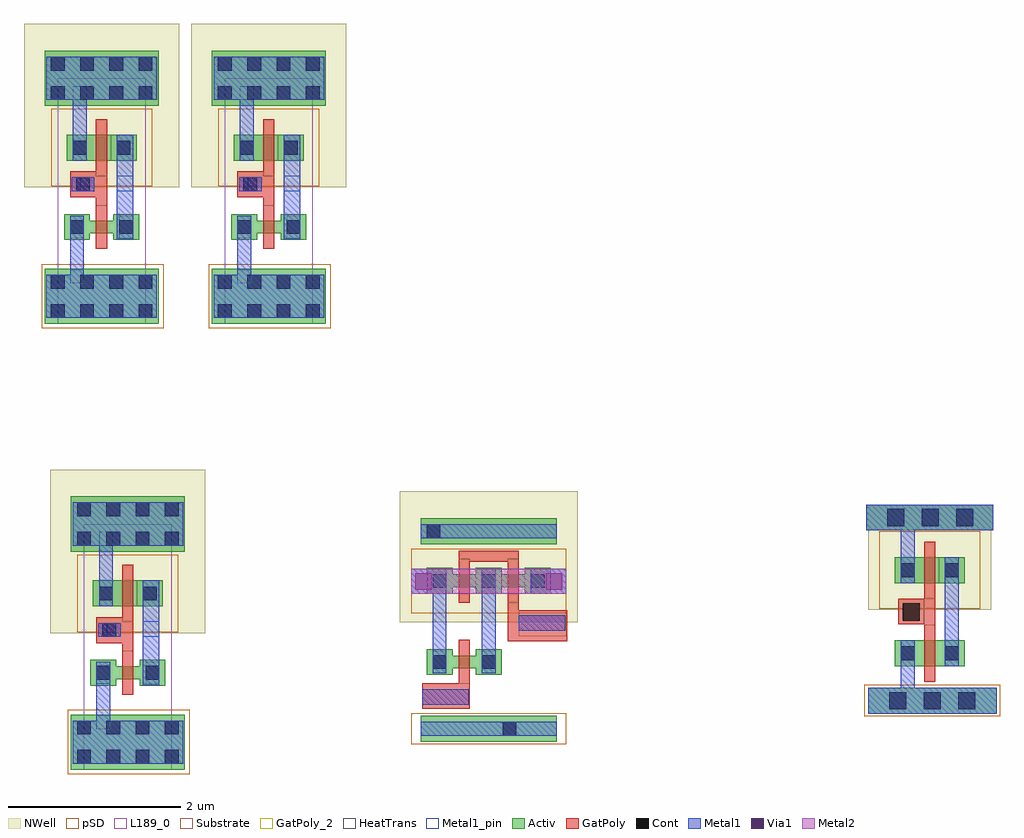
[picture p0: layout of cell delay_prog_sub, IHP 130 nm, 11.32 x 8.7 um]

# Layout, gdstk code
import gdstk
lib = gdstk.Library(unit=1e-6, precision=5e-09)
def R(c, l, rs):  # rectangles x0, y0, x1, y1
    for r in rs: c.add(gdstk.rectangle(r[:2], r[2:], *l))
def A(c, l, x, y, w, h, nx, ny, dx, dy):  # array of equal rectangles
    R(c, l, [(x+i*dx, y+j*dy, x+i*dx+w, y+j*dy+h) for i in range(nx) for j in range(ny)])
Activ = (1, 0)
GatPoly = (5, 0)
GatPoly_2 = (5, 2)
Cont = (6, 0)
Metal1 = (8, 0)
Metal1_pin = (8, 2)
Metal2 = (10, 0)
pSD = (14, 0)
Via1 = (19, 0)
NWell = (31, 0)
Substrate = (40, 0)
HeatTrans = (51, 0)
L189_0 = (189, 0)

pmos_1 = lib.new_cell('pmos$1')
R(pmos_1, Activ, [(0,0,0.3,0.3), (0,0,0.81,0.3), (0.51,0,0.81,0.3)])
R(pmos_1, GatPoly, [(0.34,-0.18,0.47,0.48), (0.34,-0.18,0.47,0.48)])
R(pmos_1, Cont, [(0.07,0.07,0.23,0.23), (0.58,0.07,0.74,0.23)])
R(pmos_1, Metal1, [(0.07,0,0.23,0.3), (0.07,0,0.23,0.3), (0.58,0,0.74,0.3), (0.58,0,0.74,0.3)])
R(pmos_1, pSD, [(-0.18,-0.3,0.99,0.6)])
R(pmos_1, NWell, [(-0.31,-0.31,1.12,0.61)])
R(pmos_1, Substrate, [(0.51,0,0.81,0.3)])
R(pmos_1, HeatTrans, [(0.34,-0.18,0.47,0.48)])
pmos_1.add(gdstk.Label('pmos', (0.405,0.15), layer=63, texttype=0))
pmos_1.add(gdstk.Label('pmos', (0.405,0.15), layer=51, texttype=0))

nmos = lib.new_cell('nmos')
R(nmos, Activ, [(0,0,0.3,0.3), (0.57,0,0.87,0.3), (0,0.075,0.87,0.225)])
R(nmos, GatPoly, [(0.37,-0.105,0.5,0.405)])
R(nmos, GatPoly_2, [(0.37,-0.105,0.5,0.405)])
R(nmos, Cont, [(0.07,0.07,0.23,0.23), (0.64,0.07,0.8,0.23)])
R(nmos, Metal1, [(0.07,0.02,0.23,0.28), (0.64,0.02,0.8,0.28)])
R(nmos, Metal1_pin, [(0.07,0.02,0.23,0.28), (0.64,0.02,0.8,0.28)])
R(nmos, HeatTrans, [(0.37,-0.105,0.5,0.405)])
nmos.add(gdstk.Label('nmos', (0.435,0.15), layer=63, texttype=0))
nmos.add(gdstk.Label('nmos', (0.435,0.15), layer=51, texttype=0))

via_stack = lib.new_cell('via_stack')
R(via_stack, Activ, [(-0.66,-0.32,0.66,0.32)])
A(via_stack, Cont, -0.59, -0.25, 0.16, 0.16, 4, 2, 0.34, 0.34)
R(via_stack, Metal1, [(-0.64,-0.25,0.64,0.25)])

via_stack_3 = lib.new_cell('via_stack$3')
R(via_stack_3, GatPoly, [(-0.15,-0.15,0.15,0.15)])
R(via_stack_3, Cont, [(-0.08,-0.08,0.08,0.08)])
R(via_stack_3, Metal1, [(-0.13,-0.08,0.13,0.08)])

inv_d1 = lib.new_cell('INV_D1')
R(inv_d1, GatPoly, [(0.65,0.88,0.78,1.32)])
R(inv_d1, Metal1, [(0.35,0.075,0.51,0.73), (0.89,0.585,1.08,1.8), (0.47,1.145,0.63,1.305), (0.38,1.8,0.54,2.365)])
R(inv_d1, Metal1_pin, [(0.35,0.075,0.51,0.235), (0.47,1.145,0.63,1.305), (0.89,1.145,1.08,1.325), (0.38,2.205,0.54,2.365)])
R(inv_d1, pSD, [(0.02,-0.445,1.435,0.3)])
R(inv_d1, NWell, [(-0.185,1.19,1.615,3.085), (0,2.11,1.43,3.085)])
R(inv_d1, Substrate, [(0.82,1.5,1.12,1.8)])
R(inv_d1, L189_0, [(0.205,-0.395,1.225,2.455)])
inv_d1.add(gdstk.Reference(pmos_1, (0.31,1.5)))
inv_d1.add(gdstk.Reference(nmos, (0.28,0.58)))
inv_d1.add(gdstk.Reference(via_stack, (0.715,2.455)))
inv_d1.add(gdstk.Reference(via_stack, (0.715,-0.075)))
inv_d1.add(gdstk.Reference(via_stack_3, (0.5,1.225)))
inv_d1.add(gdstk.Label('nmos', (0.715,0.715), layer=63, texttype=0))
inv_d1.add(gdstk.Label('VDD', (0.51,2.34), layer=8, texttype=2))
inv_d1.add(gdstk.Label('VSS', (0.465,0.21), layer=8, texttype=2))
inv_d1.add(gdstk.Label('VIN', (0.57,1.265), layer=8, texttype=2))
inv_d1.add(gdstk.Label('VOUT', (1.04,1.29), layer=8, texttype=2))
inv_d1.add(gdstk.Label('VIN', (0.495,1.17), layer=8, texttype=25))

nmos_4_4 = lib.new_cell('nmos$4$4')
R(nmos_4_4, Activ, [(0,0.04,0.3,0.34), (0.57,0.04,0.87,0.34), (0,0.115,0.87,0.265)])
R(nmos_4_4, GatPoly, [(0.37,-0.065,0.5,0.445)])
R(nmos_4_4, GatPoly_2, [(0.37,-0.065,0.5,0.445)])
R(nmos_4_4, Cont, [(0.07,0.11,0.23,0.27), (0.64,0.11,0.8,0.27)])
R(nmos_4_4, Metal1, [(0.07,0.06,0.23,0.32), (0.64,0.06,0.8,0.32)])
R(nmos_4_4, Metal1_pin, [(0.07,0.06,0.23,0.32), (0.64,0.06,0.8,0.32)])
R(nmos_4_4, HeatTrans, [(0.37,-0.065,0.5,0.445)])
nmos_4_4.add(gdstk.Label('nmos', (0.435,0.19), layer=63, texttype=0))
nmos_4_4.add(gdstk.Label('nmos', (0.435,0.19), layer=51, texttype=0))

pmos_4_2 = lib.new_cell('pmos$4$2')
R(pmos_4_2, Activ, [(0,-0.04,0.3,0.26), (0.57,-0.04,0.87,0.26), (0,0.035,0.87,0.185)])
R(pmos_4_2, GatPoly, [(0.37,-0.145,0.5,0.365), (0.37,-0.145,0.5,0.365)])
R(pmos_4_2, Cont, [(0.07,0.03,0.23,0.19), (0.64,0.03,0.8,0.19)])
R(pmos_4_2, Metal1, [(0.07,-0.02,0.23,0.24), (0.07,-0.02,0.23,0.25), (0.64,-0.02,0.8,0.24), (0.64,-0.02,0.8,0.24)])
R(pmos_4_2, pSD, [(-0.18,-0.265,1.05,0.485)])
R(pmos_4_2, NWell, [(-0.31,-0.37,1.18,0.56)])
R(pmos_4_2, Substrate, [(0.57,-0.04,0.87,0.26)])
R(pmos_4_2, HeatTrans, [(0.37,-0.145,0.5,0.365)])
pmos_4_2.add(gdstk.Label('pmos', (0.435,0.11), layer=63, texttype=0))
pmos_4_2.add(gdstk.Label('pmos', (0.435,0.11), layer=51, texttype=0))

via1_constraint_2_6 = lib.new_cell('Via1_constraint$2$6')
R(via1_constraint_2_6, Metal1, [(0,0,0.29,0.29)])
R(via1_constraint_2_6, Metal2, [(0,0,0.29,0.29)])
R(via1_constraint_2_6, Via1, [(0.05,0.05,0.24,0.24)])

tg_2c = lib.new_cell('TG_2C')
R(tg_2c, Activ, [(0.24,0.035,1.82,0.335), (0.24,2.325,1.82,2.625)])
R(tg_2c, GatPoly_2, [(0.26,0.415,0.81,0.715), (1.38,1.26,1.93,1.56)])
R(tg_2c, Cont, [(1.19,0.105,1.35,0.265), (0.31,2.395,0.47,2.555)])
R(tg_2c, Metal1, [(0.24,0.105,1.82,0.265), (0.26,0.465,0.8,0.645), (1.38,1.32,1.92,1.5), (0.42,1.75,0.54,2.04), (1.52,1.75,1.64,2.04), (0.24,2.395,1.82,2.555)])
R(tg_2c, Metal1_pin, [(0.24,0.105,1.82,0.265), (0.26,0.465,0.8,0.645), (0.95,0.88,1.11,1.035), (1.38,1.32,1.92,1.5), (0.24,2.395,1.82,2.555)])
R(tg_2c, pSD, [(0.13,0.005,1.93,0.365)])
R(tg_2c, NWell, [(0,2.345,2.06,2.94)])
tg_2c.add(gdstk.FlexPath([(1.03,2.04),(1.03,0.83)], 0.16, ends="flush", simple_path=True, layer=8, datatype=0))  # Metal1
tg_2c.add(gdstk.FlexPath([(0.46,2.04),(0.46,0.83)], 0.16, ends="flush", simple_path=True, layer=8, datatype=0))  # Metal1
tg_2c.add(gdstk.FlexPath([(1.25,1.38),(1.94,1.38)], 0.36, ends="flush", simple_path=True, layer=5, datatype=0))  # GatPoly
tg_2c.add(gdstk.FlexPath([(0.26,0.565),(0.81,0.565),(0.81,0.565)], 0.3, ends="flush", simple_path=True, layer=5, datatype=0))  # GatPoly
tg_2c.add(gdstk.FlexPath([(1.315,1.645),(1.315,1.34),(1.315,1.26)], 0.13, ends="flush", simple_path=True, layer=5, datatype=0))  # GatPoly
tg_2c.add(gdstk.FlexPath([(0.745,2.085),(0.745,2.185),(1.315,2.185),(1.315,2.085)], 0.13, ends="flush", simple_path=True, layer=5, datatype=0))  # GatPoly
tg_2c.add(gdstk.FlexPath([(0.31,1.895),(1.75,1.895),(1.75,1.895)], 0.29, ends="flush", simple_path=True, layer=10, datatype=0))  # Metal2
tg_2c.add(gdstk.Reference(nmos_4_4, (0.31,0.77)))
tg_2c.add(gdstk.Reference(pmos_4_2, (0.31,1.79)))
tg_2c.add(gdstk.Reference(pmos_4_2, (0.88,1.79)))
tg_2c.add(gdstk.Reference(via1_constraint_2_6, (1.64,1.75)))
tg_2c.add(gdstk.Reference(via1_constraint_2_6, (0.13,1.75)))
tg_2c.add(gdstk.Label('VIN', (0.425,0.95), layer=8, texttype=25))
tg_2c.add(gdstk.Label('VOUT', (1.065,0.925), layer=8, texttype=25))
tg_2c.add(gdstk.Label('VDD', (0.33,2.455), layer=8, texttype=25))
tg_2c.add(gdstk.Label('VCTRLN', (0.495,0.515), layer=8, texttype=25))
tg_2c.add(gdstk.Label('VCTRLP', (1.66,1.35), layer=8, texttype=25))
tg_2c.add(gdstk.Label('VSS', (0.235,0.17), layer=8, texttype=25))

pmos = lib.new_cell('pmos')
R(pmos, Activ, [(0,0,0.3,0.3), (0,0,0.81,0.3), (0.51,0,0.81,0.3)])
R(pmos, GatPoly, [(0.34,-0.18,0.47,0.48), (0.34,-0.18,0.47,0.48)])
R(pmos, Cont, [(0.07,0.07,0.23,0.23), (0.58,0.07,0.74,0.23)])
R(pmos, Metal1, [(0.07,0,0.23,0.3), (0.07,0,0.23,0.3), (0.58,0,0.74,0.3), (0.58,0,0.74,0.3)])
R(pmos, pSD, [(-0.18,-0.3,0.99,0.6)])
R(pmos, NWell, [(-0.31,-0.31,1.12,0.61)])
R(pmos, Substrate, [(0.51,0,0.81,0.3)])
R(pmos, HeatTrans, [(0.34,-0.18,0.47,0.48)])
pmos.add(gdstk.Label('pmos', (0.405,0.15), layer=63, texttype=0))
pmos.add(gdstk.Label('pmos', (0.405,0.15), layer=51, texttype=0))

nmos_1 = lib.new_cell('nmos$1')
R(nmos_1, Activ, [(0,0,0.3,0.3), (0,0,0.81,0.3), (0.51,0,0.81,0.3)])
R(nmos_1, GatPoly, [(0.34,-0.18,0.47,0.48)])
R(nmos_1, GatPoly_2, [(0.34,-0.18,0.47,0.48)])
R(nmos_1, Cont, [(0.07,0.07,0.23,0.23), (0.58,0.07,0.74,0.23)])
R(nmos_1, Metal1, [(0.07,0,0.23,0.3), (0.58,0,0.74,0.3)])
R(nmos_1, Metal1_pin, [(0.07,0,0.23,0.3), (0.58,0,0.74,0.3)])
R(nmos_1, HeatTrans, [(0.34,-0.18,0.47,0.48)])
nmos_1.add(gdstk.Label('nmos', (0.405,0.15), layer=63, texttype=0))
nmos_1.add(gdstk.Label('nmos', (0.405,0.15), layer=51, texttype=0))

inv_d2 = lib.new_cell('INV_D2')
R(inv_d2, Activ, [(0.045,0.03,1.535,0.33), (0.025,2.155,1.495,2.455)])
R(inv_d2, GatPoly, [(0.695,1.05,0.825,1.37), (0.395,1.065,0.695,1.365)])
A(inv_d2, Cont, 0.265, 2.205, 0.2, 0.2, 3, 1, 0.4, 0)
R(inv_d2, Cont, [(0.29,0.08,0.49,0.28), (0.29,0.08,0.49,0.28), (0.69,0.08,0.89,0.28), (0.69,0.08,0.89,0.28), (1.09,0.08,1.29,0.28), (1.09,0.08,1.29,0.28), (0.445,1.11,0.645,1.31)])
R(inv_d2, Metal1, [(0.045,0.03,1.535,0.33), (0.425,0.195,0.585,0.88), (0.935,0.58,1.095,1.845), (0.425,1.845,0.585,2.18), (0.025,2.155,1.495,2.455)])
R(inv_d2, Metal1_pin, [(0.045,0.03,1.535,0.33), (0.045,0.03,1.535,0.33), (0.935,0.58,1.095,1.845), (0.395,1.065,0.695,1.365), (0.025,2.155,1.495,2.455)])
R(inv_d2, pSD, [(0,0,1.575,0.365), (0.045,0.03,1.535,0.33)])
R(inv_d2, NWell, [(0.025,2.155,1.495,2.455)])
inv_d2.add(gdstk.Reference(pmos, (0.355,1.545)))
inv_d2.add(gdstk.Reference(nmos_1, (0.355,0.58)))
inv_d2.add(gdstk.Label('VSS', (0.785,0.175), layer=8, texttype=2))
inv_d2.add(gdstk.Label('VIN', (0.54,1.21), layer=8, texttype=2))
inv_d2.add(gdstk.Label('VOUT', (1.01,1.215), layer=8, texttype=2))
inv_d2.add(gdstk.Label('VDD', (0.765,2.305), layer=8, texttype=2))
inv_d2.add(gdstk.Label('VIN', (0.75,1.295), layer=5, texttype=2))

delay_prog_sub = lib.new_cell('delay_prog_sub')
r = gdstk.Reference(inv_d1, (0.32,5.275)); r.repetition = gdstk.Repetition(1, 1, v1=(0,0), v2=(0,0)); delay_prog_sub.add(r)
delay_prog_sub.add(gdstk.Reference(tg_2c, (4.495,0)))
delay_prog_sub.add(gdstk.Reference(inv_d2, (9.88,0.33)))
r = gdstk.Reference(inv_d1, (2.26,5.275)); r.repetition = gdstk.Repetition(1, 1, v1=(0,0), v2=(0,0)); delay_prog_sub.add(r)
delay_prog_sub.add(gdstk.Reference(inv_d1, (0.625,0.105)))

lib.write_gds('delay_prog_sub.gds')
